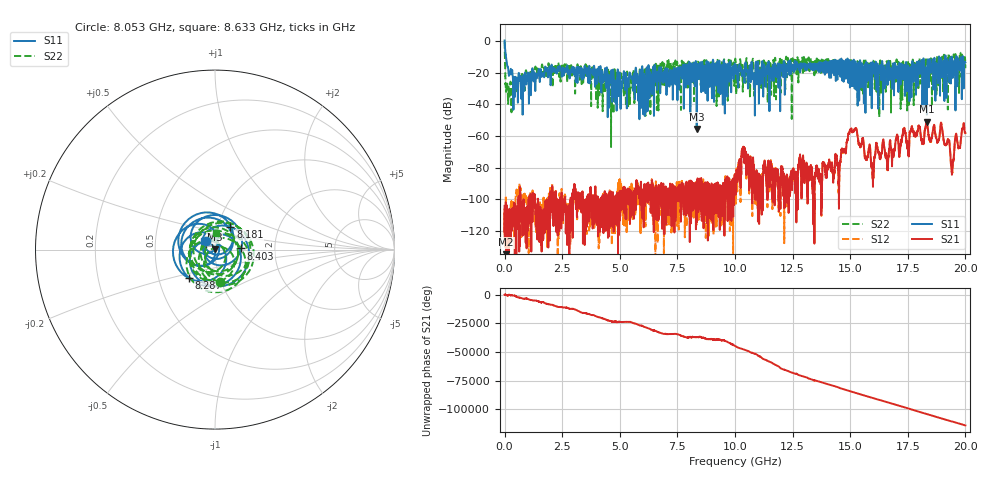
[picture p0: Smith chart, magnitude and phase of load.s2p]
! MS46122B
! 2250307/22442219
! 2/19/2026 8:53:08 AM
! C:\USERS\SPARKY\DOCUMENTS\VNA_DATA\FEB19_2026\WARM2\LOAD.S2P
! CHANNEL.1
! TR.MEASUREMENT
! RAW.DATA
# GHZ S RI R 50.0
! FREQ.GHZ  S11RE  S11IM  S21RE  S21IM  S12RE  S12IM  S22RE  S22IM
!; PortSelection: Port_12
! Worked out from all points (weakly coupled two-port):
!   10001 points, 1 MHz to 20 GHz, reference 50 ohm
!   highest |S21| = -50.92 dB at 18.32 GHz (marker M1); lowest = -140.0 dB at 61 MHz (marker M2)
!   lowest |S11| = -55.5 dB at 8.341 GHz (marker M3), VSWR 1.00, Z = 49.9 + j0.127 ohm
!   |S11| at or under -10 dB: 60.29 MHz to 18.85 GHz (18.79 GHz wide, 199 % of centre); 19.15 GHz to 19.4 GHz (256.3 MHz wide, 1.33 % of centre); 19.62 GHz to 19.88 GHz (255 MHz wide, 1.29 % of centre) (the widest 3 of 6)
!   |S22| runs from -66.9 to -0.2 dB; largest |S21 - S12| = 0.00095
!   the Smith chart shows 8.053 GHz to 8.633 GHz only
!   S11 on the Smith chart (normalised r, x): 8.053 GHz: 0.90, +0.09; 8.181 GHz: 1.15, +0.30; 8.287 GHz: 0.71, -0.24; 8.403 GHz: 1.34, +0.02; 8.633 GHz: 0.88, +0.08
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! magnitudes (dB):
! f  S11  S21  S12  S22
! 1 MHz  0.4  -104.1  -126.0  -0.2
! 61 MHz  -10.1  -140.0  -108.7  -32.1
! 479 MHz  -22.6  -114.3  -99.2  -25.0
! 3.335 GHz  -16.8  -107.3  -103.3  -21.5
! 4.631 GHz  -18.4  -109.2  -115.4  -37.4
! 6.669 GHz  -21.2  -97.9  -102.8  -23.9
! 8.053 GHz  -23.1  -96.0  -102.2  -14.9
! 8.181 GHz  -16.3  -107.1  -96.5  -13.8
! 8.287 GHz  -13.3  -99.1  -102.1  -18.5
! 8.341 GHz  -55.5  -100.9  -101.4  -18.1
! 8.403 GHz  -16.7  -98.7  -97.0  -14.1
! 8.633 GHz  -22.1  -103.4  -102.2  -20.6
! 10 GHz  -15.2  -88.1  -86.8  -11.9
! 13.33 GHz  -14.5  -83.4  -83.0  -12.3
! 14.51 GHz  -20.4  -99.6  -103.7  -16.5
! 15.19 GHz  -30.0  -55.7  -55.8  -18.3
! 15.98 GHz  -13.3  -86.3  -86.9  -18.9
! 16.67 GHz  -12.8  -73.0  -72.7  -13.0
! 18.32 GHz  -24.5  -50.9  -51.2  -17.2
! 18.97 GHz  -19.3  -53.4  -53.7  -12.2
! 19.42 GHz  -11.2  -83.2  -83.6  -15.1
! 20 GHz  -13.5  -58.1  -58.7  -17.1
